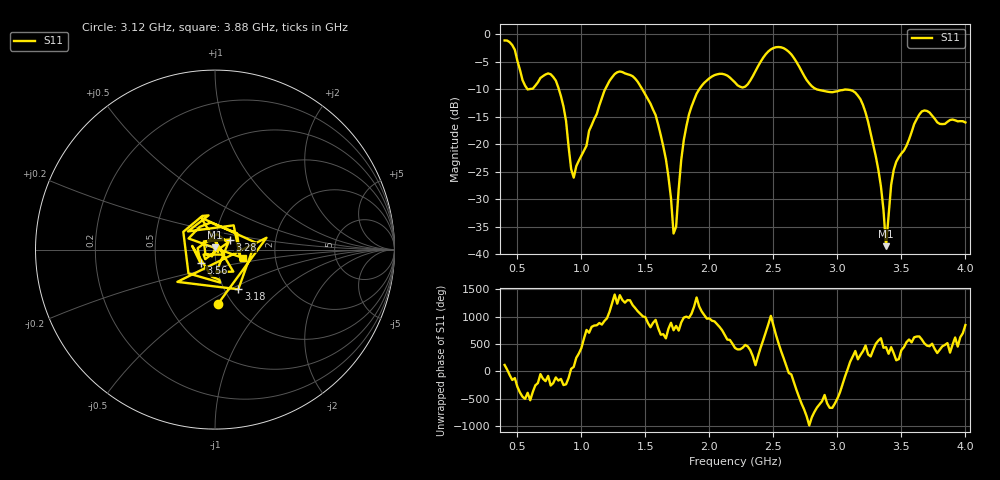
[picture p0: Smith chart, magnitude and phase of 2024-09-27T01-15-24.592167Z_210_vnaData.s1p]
!Created with skrf (http://scikit-rf.org).
# Hz S RI R 50.0
!freq ReS11 ImS11
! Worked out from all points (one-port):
!   181 points, 400 MHz to 4 GHz, reference 50 ohm
!   lowest |S11| = -38.6 dB at 3.38 GHz (marker M1), VSWR 1.02, Z = 50.1 + j1.17 ohm
!   |S11| at or under -10 dB: 823.7 MHz to 1.186 GHz (362.3 MHz wide, 36.1 % of centre); 1.476 GHz to 1.921 GHz (445.3 MHz wide, 26.2 % of centre); 2.837 GHz to end of sweep (the widest 3 of 4)
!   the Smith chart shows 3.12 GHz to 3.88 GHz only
!   S11 on the Smith chart (normalised r, x): 3.12 GHz: 0.85, -0.57; 3.18 GHz: 1.16, -0.55; 3.28 GHz: 1.17, +0.13; 3.56 GHz: 0.84, -0.13; 3.88 GHz: 1.37, -0.14
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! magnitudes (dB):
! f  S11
! 400 MHz  -1.1
! 580 MHz  -10.0
! 760 MHz  -7.3
! 860 MHz  -13.2
! 940 MHz  -26.1
! 1.18 GHz  -10.3
! 1.3 GHz  -6.8
! 1.58 GHz  -14.7
! 1.66 GHz  -22.7
! 1.72 GHz  -36.3
! 1.76 GHz  -28.2
! 1.8 GHz  -19.2
! 1.9 GHz  -10.8
! 2.2 GHz  -8.8
! 2.5 GHz  -2.5
! 2.66 GHz  -4.3
! 2.82 GHz  -9.8
! 3.1 GHz  -10.1
! 3.12 GHz  -10.3
! 3.18 GHz  -11.8
! 3.28 GHz  -20.1
! 3.34 GHz  -27.7
! 3.38 GHz  -38.6
! 3.44 GHz  -24.7
! 3.56 GHz  -19.1
! 3.66 GHz  -14.0
! 3.88 GHz  -15.6
! 4 GHz  -16.0
